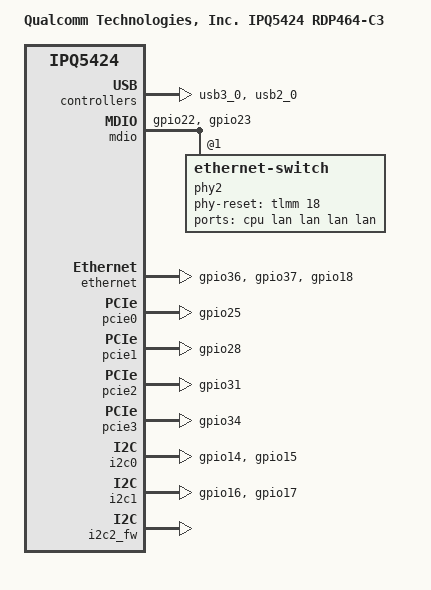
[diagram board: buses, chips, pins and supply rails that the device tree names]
// SPDX-License-Identifier: GPL-2.0-only
/*
 * Copyright (c) Qualcomm Technologies, Inc. and/or its subsidiaries.
 */

/dts-v1/;

#include "ipq5424.dtsi"

/ {
	model = "Qualcomm Technologies, Inc. IPQ5424 RDP464-C3";
	compatible = "qcom,ipq5424-rdp464-c3", "qcom,ipq5424";

	aliases {
		serial0 = &uart1;
	};

	soc@0 {
		qmp_ssphy_0: ssphy@7D000 {
			status = "okay";
		};

		qusb2_phy_0: qusb2_0@7B000 {
			status = "okay";
		};

		usb3_0: usb3_0@8af8800 {
			status = "okay";
		};

		qusb2_phy_1: qusb2_1@71000 {
			status = "okay";
		};

		usb2_0: usb2_0@1ef8800 {
			status = "okay";
		};

		mdio: mdio@90000 {
			pinctrl-names = "default";
			pinctrl-0 = <&mdio_pinmux>;
			status = "okay";

			phy0: i2c_phy0@1d {
				phy-reset-gpio = <&tlmm 36 0>;
				phy_addr = <0x1d>;
				phy_type = <QCA81xx_PHY_TYPE>;
				id = <1>;
				uniphy_id = <0>;
				uniphy_type = <0>;
				max_speed = <10000>;
				xgmac;
				i2c-bus = <&se5>;
			};

			phy1: i2c_phy1@1d {
				phy-reset-gpio = <&tlmm 37 0>;
				phy_addr = <0x1d>;
				phy_type = <QCA81xx_PHY_TYPE>;
				id = <2>;
				uniphy_id = <1>;
				uniphy_type = <0>;
				max_speed = <10000>;
				xgmac;
				i2c-bus = <&i2c1>;
			};

			phy2: ethernet-switch@1 {
				phy-reset-gpio = <&tlmm 18 0>;
				dev-mode = <0x1>;
				phy_addr = <1>;
				phy_type = <QCA8x8x_SWITCH_TYPE>;
				id = <3>;
				uniphy_id = <2>;
				uniphy_type = <0>;
				max_speed = <2500>;
				force-speed;
				xgmac;
				ports {
					#address-cells = <1>;
					#size-cells = <0>;

					port0: port@0 {
						phy_addr = <0>;
						label = "cpu";
						phy-mode = "2500base-x";
						fixed-link {
							speed = <2500>;
							full-duplex;
						};
					};

					port1: port@1 {
						phy_addr = <1>;
						label = "lan";
					};

					port2: port@2 {
						phy_addr = <2>;
						label = "lan";
					};

					port3: port@3 {
						phy_addr = <3>;
						label = "lan";
					};

					port4: port@4 {
						phy_addr = <4>;
						label = "lan";
					};
				};
			};
		};

		ethernet: nss-switch {
			pinctrl-names = "default";
			pinctrl-0 = <&phy_rst_pinmux>;
			phy-handle0 = <&phy0>;
			phy-handle1 = <&phy1>;
			phy-handle2 = <&phy2>;
			status = "okay";
		};

		pcie0: pcie@70000000  {
			pinctrl-0 = <&pcie0_default_state>;
			pinctrl-names = "default";
			perst-gpios = <&tlmm 25 GPIO_ACTIVE_LOW>;
			status = "okay";
		};

		pcie1: pcie@60000000 {
			pinctrl-0 = <&pcie1_default_state>;
			pinctrl-names = "default";
			status = "okay";
			perst-gpios = <&tlmm 28 GPIO_ACTIVE_LOW>;
		};

		pcie2: pcie@50000000 {
			pinctrl-0 = <&pcie2_default_state>;
			pinctrl-names = "default";
			status = "okay";
			perst-gpios = <&tlmm 31 GPIO_ACTIVE_LOW>;
		};

		pcie3: pcie@40000000 {
			perst-gpios = <&tlmm 34 GPIO_ACTIVE_LOW>;
			pinctrl-names = "default";
			pinctrl-0 = <&pcie3_default_state>;
			status = "okay";
		};
	};
};

&tlmm {
	mdio_pinmux: mdio {
		mdc {
			pins = "gpio22";
			function = "mdc_mst";
			drive-strength = <8>;
			bias-disable;
		};

		mdio {
			pins = "gpio23";
			function = "mdio_mst";
			drive-strength = <8>;
			bias-pull-up;
		};
	};

	phy_rst_pinmux: phy_rst {
		qti_i2c_phy0_rst {
			pins = "gpio36";
			drive-strength = <8>;
			bias-pull-up;
			output-low;
		};

		qti_i2c_phy1_rst {
			pins = "gpio37";
			drive-strength = <8>;
			bias-pull-up;
			output-low;
		};

		qti_8x8x_rst {
			pins = "gpio18";
			drive-strength = <8>;
			bias-pull-up;
		};
	};

	i2c0_pinmux: i2c0 {
		i2c0_scl {
			pins = "gpio14";
			function = "i2c0_scl";
			drive-strength = <2>;
			bias-pull-up;
		};

		i2c0_sda {
			pins = "gpio15";
			function = "i2c0_sda";
			drive-strength = <2>;
			bias-disable;
		};
	};

	i2c1_pinmux: i2c1 {
		i2c1_scl {
			pins = "gpio16";
			function = "i2c1_scl";
			drive-strength = <2>;
			bias-pull-down;
		};

		i2c1_sda {
			pins = "gpio17";
			function = "i2c1_sda";
			drive-strength = <2>;
			bias-pull-down;
		};
	};

	i2c2_pinmux: i2c2 {
		i2c2_sda {
			pins = "gpio47";
			function = "spi10";
			drive-strength = <8>;
			bias-disable;
		};

		i2c2_scl {
			pins = "gpio48";
			function = "spi10";
			drive-strength = <8>;
			bias-pull-up;
		};
	};

	pcie0_default_state: pcie0-default-state {
		perst-n-pins {
			pins = "gpio25";
			function = "gpio";
			drive-strength = <8>;
			bias-pull-up;
			output-low;
		};
	};

	pcie1_default_state: pcie1-default-state {
		perst-n-pins {
			pins = "gpio28";
			function = "gpio";
			drive-strength = <8>;
			bias-pull-up;
			output-low;
		};
	};

	pcie2_default_state: pcie2-default-state {
		perst-n-pins {
			pins = "gpio31";
			function = "gpio";
			drive-strength = <8>;
			bias-pull-up;
			output-low;
		};
	};

	pcie3_default_state: pcie3-default-state {
		perst-n-pins {
			pins = "gpio34";
			function = "gpio";
			drive-strength = <8>;
			bias-pull-up;
			output-low;
		};
	};
};

&qupv3 {
	i2c0: i2c@1a88000 {
		pinctrl-0 = <&i2c0_pinmux>;
		pinctrl-names = "default";
		status = "okay";
	};

	i2c1: i2c@1a8c000 {
		pinctrl-0 = <&i2c1_pinmux>;
		pinctrl-names = "default";
		status = "okay";
	};

	se5: se5@1a94000 {
		compatible = "qcom,geni-i2c";
		clocks = <&gcc GCC_QUPV3_SPI1_CLK>;
		clock-names = "se";
		clock-frequency = <400000>;
		qup-se-fw-load = <&i2c2_fw>;
		qcom,geni-se-clk-32mhz;
		pinctrl-0 = <&i2c2_pinmux>;
		pinctrl-names = "default";
		status = "okay";
	};

	i2c2_fw: i2c2_firmware@0 {
		compatible = "qcom,ipq5424-geni-i2c-fw-v1",
			     "qcom,geni-i2c-fw-v1";
		reg = <0 0x1a94000 0 0x4000>;
		status = "okay";
	};
};
